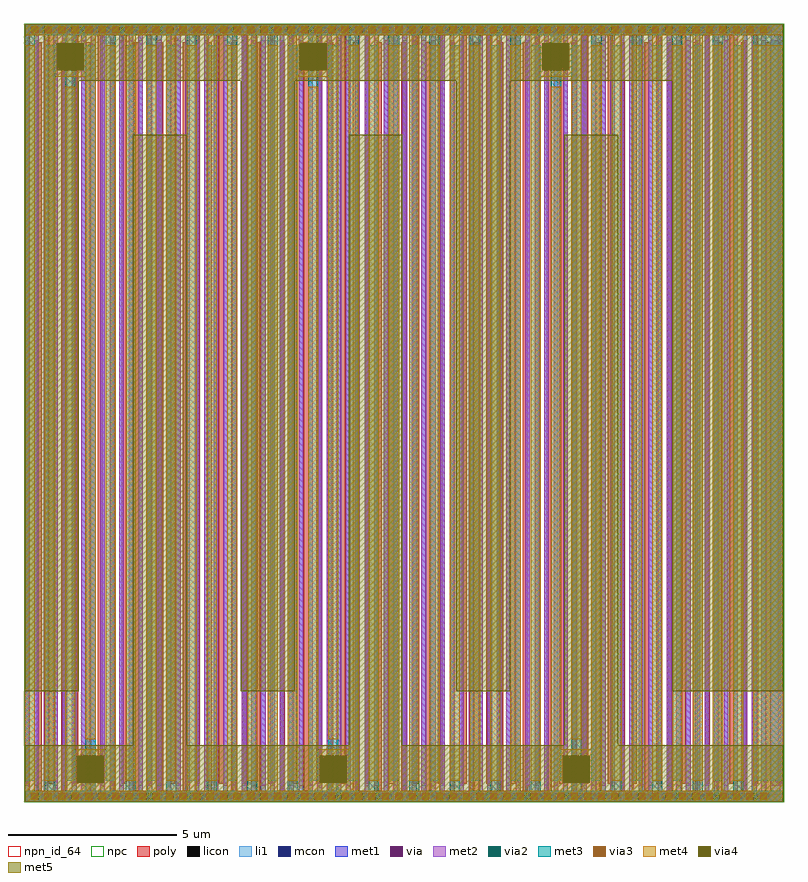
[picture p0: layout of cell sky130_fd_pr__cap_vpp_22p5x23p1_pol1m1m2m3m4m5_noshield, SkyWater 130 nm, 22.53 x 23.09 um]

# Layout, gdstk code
import gdstk
lib = gdstk.Library(unit=1e-6, precision=1e-09)
def R(c, l, rs):  # rectangles x0, y0, x1, y1
    for r in rs: c.add(gdstk.rectangle(r[:2], r[2:], *l))
def A(c, l, x, y, w, h, nx, ny, dx, dy):  # array of equal rectangles
    R(c, l, [(x+i*dx, y+j*dy, x+i*dx+w, y+j*dy+h) for i in range(nx) for j in range(ny)])
poly = (66, 20)
licon = (66, 44)
li1 = (67, 20)
mcon = (67, 44)
met1 = (68, 20)
via = (68, 44)
met2 = (69, 20)
via2 = (69, 44)
met3 = (70, 20)
via3 = (70, 44)
met4 = (71, 20)
via4 = (71, 44)
met5 = (72, 20)
npn_id_64 = (82, 64)
npc = (95, 20)

sky130_fd_pr__cap_vpp_22 = lib.new_cell('sky130_fd_pr__cap_vpp_22p5x23p1_pol1m1m2m3m4m5_noshield')
A(sky130_fd_pr__cap_vpp_22, poly, 0.36, 0.33, 0.15, 22.18, 31, 1, 0.72, 0)
A(sky130_fd_pr__cap_vpp_22, poly, 0, 0.54, 0.15, 22.18, 31, 1, 0.72, 0)
R(sky130_fd_pr__cap_vpp_22, poly, [(0,0,22.49,0.33), (22.32,0.54,22.49,22.72), (0,22.72,22.49,23.05)])
A(sky130_fd_pr__cap_vpp_22, licon, 0.17, 0.08, 0.17, 0.17, 65, 2, 0.34, 22.72)
A(sky130_fd_pr__cap_vpp_22, li1, 0, 0.33, 0.14, 22.25, 40, 1, 0.56, 0)
A(sky130_fd_pr__cap_vpp_22, li1, 0.28, 0.47, 0.14, 22.25, 39, 1, 0.56, 0)
R(sky130_fd_pr__cap_vpp_22, li1, [(0,0,22.49,0.33), (22.12,0.47,22.49,22.72), (0,22.72,22.49,23.05)])
A(sky130_fd_pr__cap_vpp_22, mcon, 0.19, 0.08, 0.17, 0.17, 61, 2, 0.36, 22.72)
A(sky130_fd_pr__cap_vpp_22, met1, 0.28, 0.33, 0.14, 22.25, 39, 1, 0.56, 0)
A(sky130_fd_pr__cap_vpp_22, met1, 0, 0.47, 0.14, 22.25, 40, 1, 0.56, 0)
R(sky130_fd_pr__cap_vpp_22, met1, [(0,0,22.49,0.33), (22.12,0.33,22.49,22.58), (0,22.72,22.49,23.05)])
R(sky130_fd_pr__cap_vpp_22, via, [(0.175,0.09,0.325,0.24), (0.495,0.09,0.645,0.24), (1.235,0.09,1.385,0.24), (1.555,0.09,1.705,0.24), (2.355,0.09,2.505,0.24), (2.675,0.09,2.825,0.24), (3.475,0.09,3.625,0.24), (3.795,0.09,3.945,0.24), (4.595,0.09,4.745,0.24), (4.915,0.09,5.065,0.24), (5.715,0.09,5.865,0.24), (6.035,0.09,6.185,0.24), (6.835,0.09,6.985,0.24), (7.155,0.09,7.305,0.24), (7.955,0.09,8.105,0.24), (8.275,0.09,8.425,0.24), (9.075,0.09,9.225,0.24), (9.395,0.09,9.545,0.24), (10.195,0.09,10.345,0.24), (10.515,0.09,10.665,0.24), (11.315,0.09,11.465,0.24), (11.635,0.09,11.785,0.24), (12.435,0.09,12.585,0.24), (12.755,0.09,12.905,0.24), (13.555,0.09,13.705,0.24), (13.875,0.09,14.025,0.24), (14.675,0.09,14.825,0.24), (14.995,0.09,15.145,0.24), (15.795,0.09,15.945,0.24), (16.115,0.09,16.265,0.24), (16.915,0.09,17.065,0.24), (17.235,0.09,17.385,0.24), (18.035,0.09,18.185,0.24), (18.355,0.09,18.505,0.24), (19.155,0.09,19.305,0.24), (19.475,0.09,19.625,0.24), (20.275,0.09,20.425,0.24), (20.595,0.09,20.745,0.24), (21.395,0.09,21.545,0.24), (21.715,0.09,21.865,0.24), (0.395,22.81,0.545,22.96), (0.715,22.81,0.865,22.96), (1.515,22.81,1.665,22.96), (1.835,22.81,1.985,22.96), (2.635,22.81,2.785,22.96), (2.955,22.81,3.105,22.96), (3.755,22.81,3.905,22.96), (4.075,22.81,4.225,22.96), (4.875,22.81,5.025,22.96), (5.195,22.81,5.345,22.96), (5.995,22.81,6.145,22.96), (6.315,22.81,6.465,22.96), (7.115,22.81,7.265,22.96), (7.435,22.81,7.585,22.96), (8.235,22.81,8.385,22.96), (8.555,22.81,8.705,22.96), (9.355,22.81,9.505,22.96), (9.675,22.81,9.825,22.96), (10.475,22.81,10.625,22.96), (10.795,22.81,10.945,22.96), (11.595,22.81,11.745,22.96), (11.915,22.81,12.065,22.96), (12.715,22.81,12.865,22.96), (13.035,22.81,13.185,22.96), (13.835,22.81,13.985,22.96), (14.155,22.81,14.305,22.96), (14.955,22.81,15.105,22.96), (15.275,22.81,15.425,22.96), (16.075,22.81,16.225,22.96), (16.395,22.81,16.545,22.96), (17.195,22.81,17.345,22.96), (17.515,22.81,17.665,22.96), (18.315,22.81,18.465,22.96), (18.635,22.81,18.785,22.96), (19.435,22.81,19.585,22.96), (19.755,22.81,19.905,22.96), (20.555,22.81,20.705,22.96), (20.875,22.81,21.025,22.96), (21.675,22.81,21.825,22.96), (21.995,22.81,22.145,22.96)])
A(sky130_fd_pr__cap_vpp_22, met2, 0, 0, 0.7, 0.33, 19, 1, 1.12, 0)
A(sky130_fd_pr__cap_vpp_22, met2, 0.84, 0, 0.14, 0.47, 19, 1, 1.12, 0)
A(sky130_fd_pr__cap_vpp_22, met2, 0, 0.33, 0.14, 22.25, 40, 1, 0.56, 0)
A(sky130_fd_pr__cap_vpp_22, met2, 0.28, 0.47, 0.14, 22.25, 39, 1, 0.56, 0)
A(sky130_fd_pr__cap_vpp_22, met2, 0, 22.58, 0.14, 0.47, 19, 1, 1.12, 0)
A(sky130_fd_pr__cap_vpp_22, met2, 0.28, 22.72, 0.7, 0.33, 19, 1, 1.12, 0)
R(sky130_fd_pr__cap_vpp_22, met2, [(21.28,0,22.49,0.33), (22.12,0.47,22.49,22.72), (21.14,22.72,22.49,23.05)])
A(sky130_fd_pr__cap_vpp_22, via2, 0.25, 0.065, 0.2, 0.2, 20, 1, 1.12, 0)
A(sky130_fd_pr__cap_vpp_22, via2, 0.53, 22.785, 0.2, 0.2, 19, 1, 1.12, 0)
A(sky130_fd_pr__cap_vpp_22, met3, 0.6, 0.33, 0.3, 22.09, 18, 1, 1.2, 0)
A(sky130_fd_pr__cap_vpp_22, met3, 0, 0.63, 0.3, 22.09, 18, 1, 1.2, 0)
R(sky130_fd_pr__cap_vpp_22, met3, [(0,0,22.49,0.33), (21.6,0.63,22.49,22.72), (0,22.72,22.49,23.05)])
A(sky130_fd_pr__cap_vpp_22, via3, 0.2, 0.065, 0.2, 0.2, 55, 2, 0.4, 22.72)
A(sky130_fd_pr__cap_vpp_22, met4, 1.2, 0.33, 0.3, 20.865, 3, 1, 7.2, 0)
A(sky130_fd_pr__cap_vpp_22, met4, 1.5, 0.33, 0.9, 0.045, 3, 1, 7.2, 0)
A(sky130_fd_pr__cap_vpp_22, met4, 2.4, 0.33, 0.3, 22.09, 5, 1, 1.2, 0)
A(sky130_fd_pr__cap_vpp_22, met4, 9.6, 0.33, 0.3, 22.09, 5, 1, 1.2, 0)
A(sky130_fd_pr__cap_vpp_22, met4, 16.8, 0.33, 0.3, 22.09, 4, 1, 1.2, 0)
A(sky130_fd_pr__cap_vpp_22, met4, 1.36, 0.375, 1.18, 1.18, 3, 1, 7.2, 0)
A(sky130_fd_pr__cap_vpp_22, met4, 3, 0.63, 0.3, 22.09, 5, 1, 1.2, 0)
A(sky130_fd_pr__cap_vpp_22, met4, 10.2, 0.63, 0.3, 22.09, 5, 1, 1.2, 0)
A(sky130_fd_pr__cap_vpp_22, met4, 17.4, 0.63, 0.3, 22.09, 4, 1, 1.2, 0)
A(sky130_fd_pr__cap_vpp_22, met4, 1.8, 1.855, 0.3, 20.865, 3, 1, 7.2, 0)
A(sky130_fd_pr__cap_vpp_22, met4, 0.76, 21.495, 1.18, 1.18, 3, 1, 7.2, 0)
A(sky130_fd_pr__cap_vpp_22, met4, 0.9, 22.675, 0.9, 0.045, 3, 1, 7.2, 0)
R(sky130_fd_pr__cap_vpp_22, met4, [(0,0,22.49,0.33), (0,0.33,0.3,22.42), (21.6,0.33,22.49,22.42), (0.6,0.63,0.9,22.72), (0,22.72,22.49,23.05)])
A(sky130_fd_pr__cap_vpp_22, via4, 1.55, 0.565, 0.8, 0.8, 3, 1, 7.2, 0)
A(sky130_fd_pr__cap_vpp_22, via4, 0.95, 21.685, 0.8, 0.8, 3, 1, 7.2, 0)
A(sky130_fd_pr__cap_vpp_22, met5, 1.24, 0.255, 1.42, 1.42, 3, 1, 7.2, 0)
A(sky130_fd_pr__cap_vpp_22, met5, 3.2, 1.675, 1.6, 18.1, 3, 1, 6.4, 0)
A(sky130_fd_pr__cap_vpp_22, met5, 0, 3.275, 1.6, 18.1, 3, 1, 6.4, 0)
A(sky130_fd_pr__cap_vpp_22, met5, 0.64, 21.375, 1.42, 1.42, 3, 1, 7.2, 0)
R(sky130_fd_pr__cap_vpp_22, met5, [(0,0,22.49,1.675), (19.2,3.275,22.49,21.375), (0,21.375,22.49,23.05)])
R(sky130_fd_pr__cap_vpp_22, npn_id_64, [(0.13,0.21,22.4,22.84)])
R(sky130_fd_pr__cap_vpp_22, npc, [(-0.02,-0.02,22.51,23.07)])

lib.write_gds('sky130_fd_pr__cap_vpp_22p5x23p1_pol1m1m2m3m4m5_noshield.gds')
